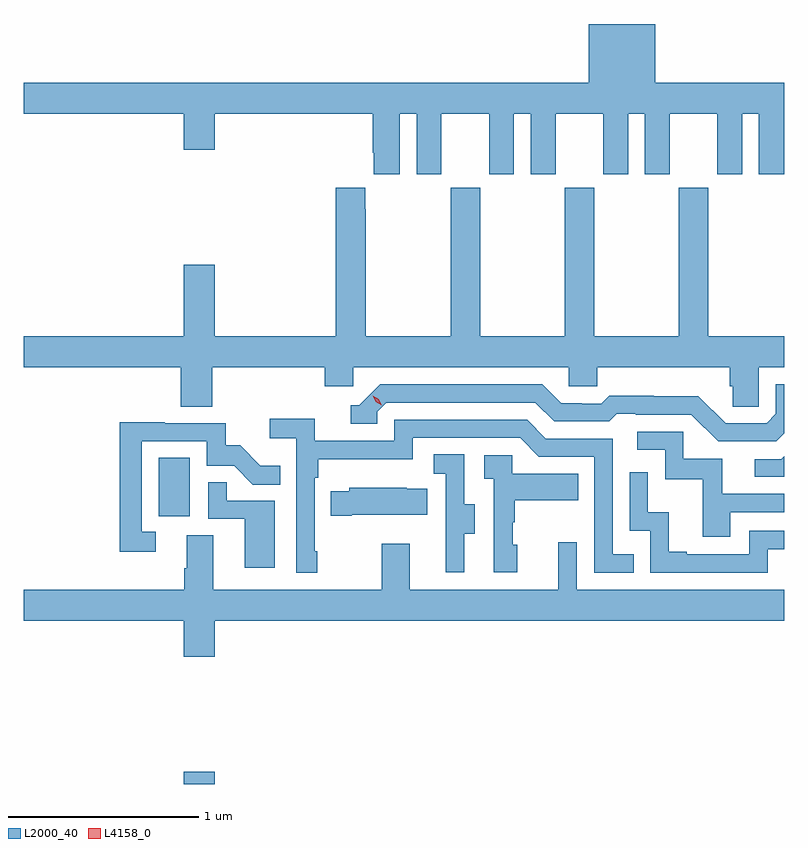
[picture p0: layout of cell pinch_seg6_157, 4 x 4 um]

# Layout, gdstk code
import gdstk
lib = gdstk.Library(unit=1e-6, precision=1e-09)
def R(c, l, rs):  # rectangles x0, y0, x1, y1
    for r in rs: c.add(gdstk.rectangle(r[:2], r[2:], *l))
def P(c, l, *ps):  # polygons
    for p in ps: c.add(gdstk.Polygon(p, *l))
L2000_40 = (2000, 40)
L4158_0 = (4158, 0)

pinch_seg6_157 = lib.new_cell('pinch_seg6_157')
R(pinch_seg6_157, L2000_40, [(1142.03,938.486,1142.194,938.551), (1141.898,939.894,1142.062,940.201)])
P(pinch_seg6_157, L2000_40, [(1143.166,942.008),(1143.254,942.008),(1143.254,941.691),(1143.385,941.691),(1143.385,942.008),(1143.635,942.008),(1143.635,941.691),(1143.766,941.691),(1143.766,942.008),(1143.854,942.008),(1143.854,941.691),(1143.985,941.691),(1143.985,942.008),(1144.235,942.008),(1144.235,941.691),(1144.366,941.691),(1144.366,942.008),(1144.454,942.008),(1144.454,941.691),(1144.585,941.691),(1144.585,942.008),(1144.835,942.008),(1144.835,941.691),(1144.966,941.691),(1144.966,942.008),(1145.054,942.008),(1145.054,941.691),(1145.188,941.691),(1145.188,942.172),(1144.51,942.172),(1144.51,942.481),(1144.16,942.481),(1144.16,942.172),(1141.188,942.172),(1141.188,942.008),(1142.03,942.008),(1142.03,941.82),(1142.194,941.82),(1142.194,942.008),(1143.023,942.008),(1143.023,941.803),(1143.029,941.803),(1143.029,941.691),(1143.166,941.691)],
  [(1142.18,940.676),(1142.771,940.676),(1142.771,940.578),(1142.922,940.578),(1142.922,940.676),(1144.053,940.676),(1144.053,940.578),(1144.203,940.578),(1144.203,940.676),(1144.901,940.676),(1144.901,940.578),(1144.915,940.578),(1144.915,940.468),(1145.052,940.468),(1145.052,940.676),(1145.188,940.676),(1145.188,940.84),(1144.788,940.84),(1144.788,941.62),(1144.633,941.62),(1144.633,940.84),(1144.188,940.84),(1144.188,941.62),(1144.033,941.62),(1144.033,940.84),(1143.588,940.84),(1143.588,941.62),(1143.433,941.62),(1143.433,940.84),(1142.988,940.84),(1142.988,941.507),(1142.983,941.507),(1142.983,941.62),(1142.828,941.62),(1142.828,940.84),(1142.194,940.84),(1142.194,941.215),(1142.03,941.215),(1142.03,940.84),(1141.188,940.84),(1141.188,940.676),(1142.015,940.676),(1142.015,940.468),(1142.18,940.468)],
  [(1145.188,940.33),(1145.188,940.587),(1145.142,940.587),(1145.142,940.431),(1145.094,940.383),(1144.878,940.383),(1144.736,940.525),(1144.5,940.525),(1144.5,940.528),(1144.267,940.528),(1144.225,940.485),(1144.122,940.485),(1144.122,940.488),(1144.015,940.488),(1143.916,940.587),(1143.063,940.587),(1142.952,940.476),(1142.909,940.476),(1142.909,940.38),(1143.048,940.38),(1143.048,940.443),(1143.096,940.491),(1143.879,940.491),(1143.978,940.392),(1144.267,940.392),(1144.306,940.431),(1144.405,940.431),(1144.405,940.428),(1144.698,940.428),(1144.839,940.287),(1145.145,940.287)],
  [(1142.731,939.709),(1142.718,939.709),(1142.718,940.097),(1142.738,940.097),(1142.738,940.193),(1143.234,940.193),(1143.234,940.305),(1143.798,940.305),(1143.897,940.206),(1144.188,940.206),(1144.188,939.597),(1144.397,939.597),(1144.397,939.693),(1144.284,939.693),(1144.284,940.302),(1143.934,940.302),(1143.835,940.401),(1143.138,940.401),(1143.138,940.29),(1142.72,940.29),(1142.72,940.406),(1142.481,940.406),(1142.481,940.304),(1142.622,940.304),(1142.622,939.597),(1142.731,939.597)],
  [(1141.882,939.813),(1141.809,939.813),(1141.809,940.287),(1142.151,940.287),(1142.151,940.158),(1142.295,940.158),(1142.393,940.06),(1142.537,940.06),(1142.537,940.159),(1142.433,940.159),(1142.326,940.266),(1142.25,940.266),(1142.25,940.383),(1141.931,940.383),(1141.931,940.388),(1141.693,940.388),(1141.693,939.708),(1141.882,939.708)],
  [(1144.903,939.915),(1145.188,939.915),(1145.188,940.011),(1144.861,940.011),(1144.861,940.197),(1144.656,940.197),(1144.656,940.338),(1144.413,940.338),(1144.413,940.242),(1144.56,940.242),(1144.56,940.089),(1144.759,940.089),(1144.759,939.786),(1144.903,939.786)],
  [(1143.505,939.802),(1143.559,939.802),(1143.559,939.957),(1143.504,939.957),(1143.504,940.22),(1143.345,940.22),(1143.345,940.117),(1143.408,940.117),(1143.408,939.813),(1143.407,939.813),(1143.407,939.6),(1143.505,939.6)],
  [(1143.784,939.744),(1143.759,939.744),(1143.759,939.863),(1143.769,939.863),(1143.769,939.977),(1144.103,939.977),(1144.103,940.117),(1143.756,940.117),(1143.756,940.215),(1143.609,940.215),(1143.609,940.091),(1143.66,940.091),(1143.66,939.6),(1143.784,939.6)],
  [(1145.188,940.21),(1145.172,940.194),(1145.031,940.194),(1145.031,940.101),(1145.188,940.101)],
  [(1145.1,939.72),(1145.188,939.72),(1145.188,939.816),(1145.004,939.816),(1145.004,939.693),(1144.675,939.693),(1144.675,939.706),(1144.58,939.706),(1144.58,939.914),(1144.47,939.914),(1144.47,940.126),(1144.374,940.126),(1144.374,939.816),(1144.482,939.816),(1144.482,939.597),(1145.1,939.597)],
  [(1142.509,939.975),(1142.255,939.975),(1142.255,940.073),(1142.16,940.073),(1142.16,939.879),(1142.351,939.879),(1142.351,939.624),(1142.509,939.624)],
  [(1142.914,939.902),(1143.311,939.902),(1143.311,940.039),(1143.203,940.039),(1143.203,940.042),(1142.901,940.042),(1142.901,940.024),(1142.803,940.024),(1142.803,939.895),(1142.914,939.895)],
  [(1142.194,939.344),(1145.188,939.344),(1145.188,939.508),(1144.095,939.508),(1144.095,939.757),(1143.998,939.757),(1143.998,939.508),(1143.217,939.508),(1143.217,939.748),(1143.07,939.748),(1143.07,939.508),(1142.185,939.508),(1142.185,939.794),(1142.045,939.794),(1142.045,939.62),(1142.033,939.62),(1142.033,939.508),(1141.188,939.508),(1141.188,939.344),(1142.03,939.344),(1142.03,939.156),(1142.194,939.156)])
P(pinch_seg6_157, L4158_0, [(1143.07,940.476),(1143.04,940.495),(1143.024,940.528),(1143.024,940.528),(1143.024,940.528),(1143.054,940.509),(1143.071,940.476),(1143.071,940.476)])

lib.write_gds('pinch_seg6_157.gds')
